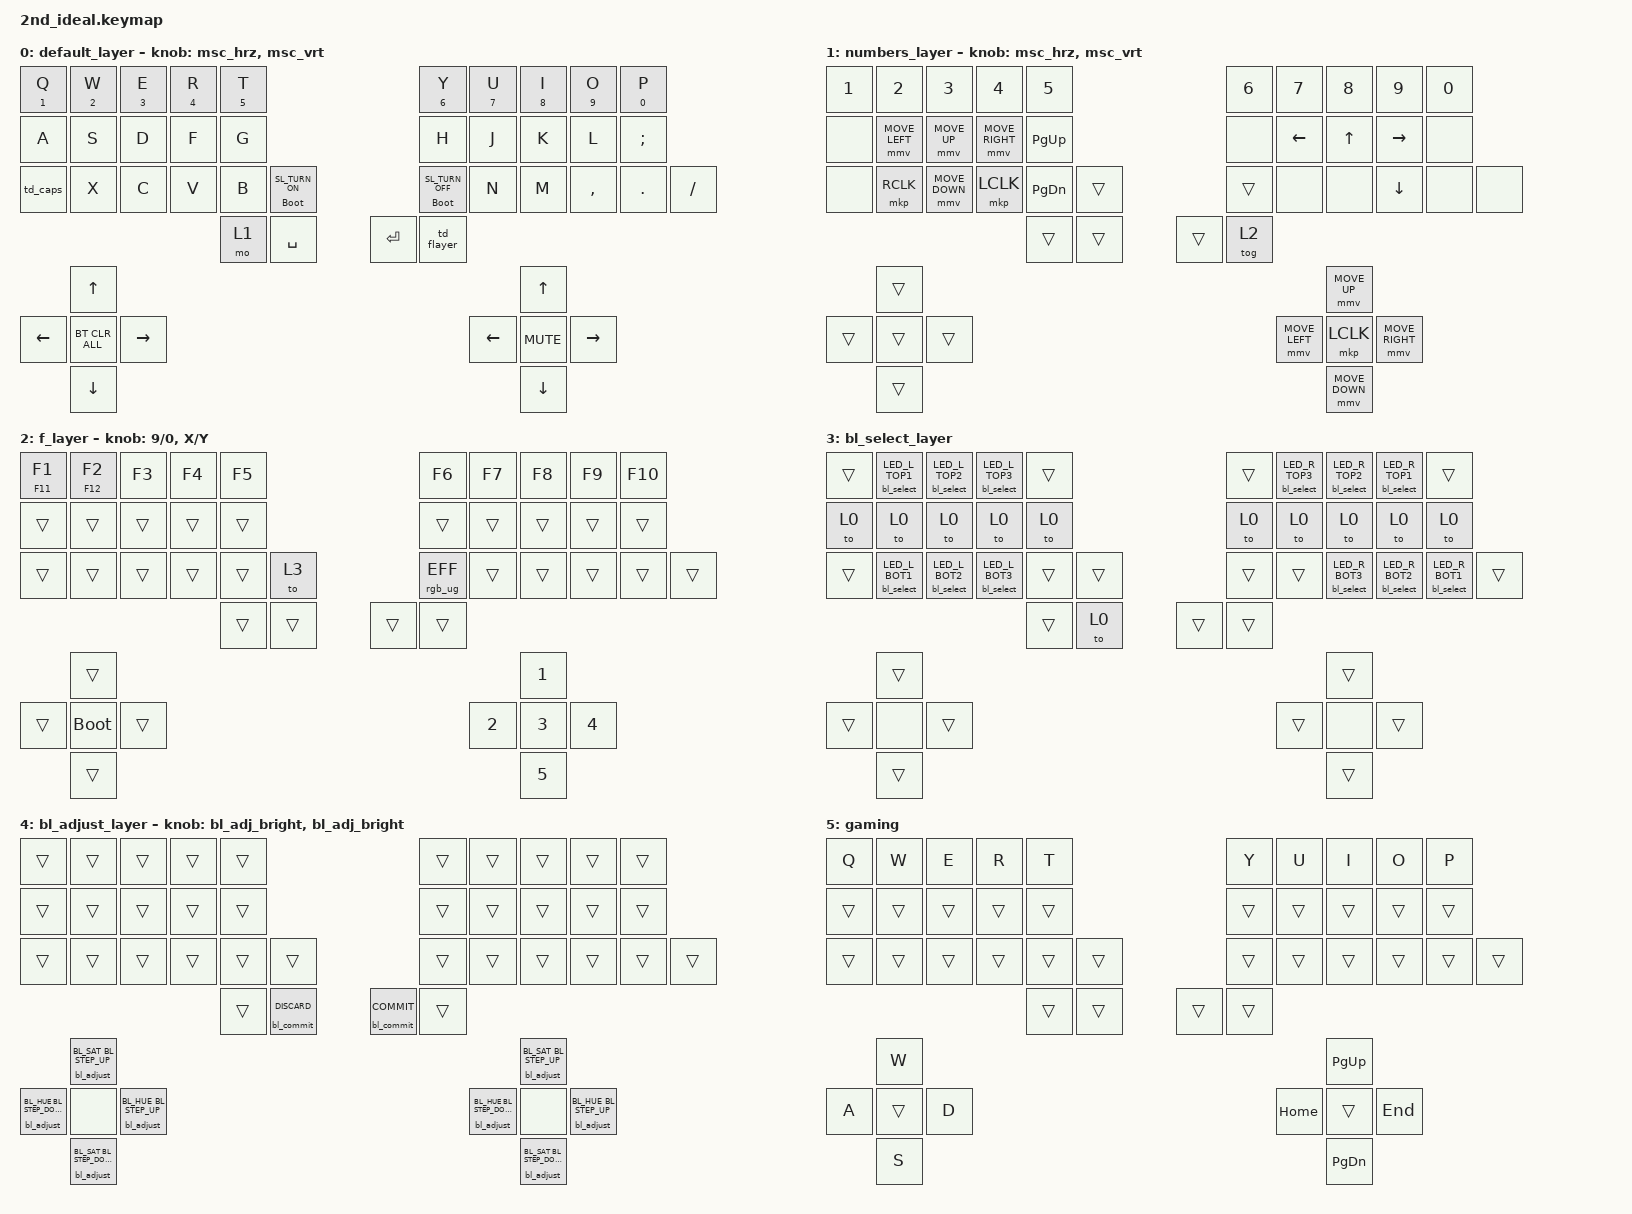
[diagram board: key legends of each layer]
#define ZMK_POINTING_DEFAULT_SCRL_VAL 		100

#include <behaviors.dtsi>
#include <dt-bindings/zmk/bt.h>
#include <dt-bindings/zmk/keys.h>
#include <dt-bindings/zmk/pointing.h>
#include <dt-bindings/zmk/rgb.h>
#include <dt-bindings/status_led.h>
#include <dt-bindings/bl_ids.h>
#include "keys_de.h"

/ {
    combos {
        compatible = "zmk,combos";

        combo_tilde {
            key-positions = <1 0>;
            bindings = <&kp TILDE>;
            timeout-ms = <20>;
        };

        combo_lparen {
            key-positions = <3 2>;
            bindings = <&kp LPAR>;
            timeout-ms = <20>;
        };

        combo_div {
            key-positions = <3 4>;
            bindings = <&kp FSLH>;
            timeout-ms = <20>;
        };

        combo_mul {
            key-positions = <6 5>;
            bindings = <&kp ASTERISK>;
            timeout-ms = <20>;
        };

        combo_rparen {
            key-positions = <7 6>;
            bindings = <&kp RPAR>;
            timeout-ms = <20>;
        };

        combo_eq {
            key-positions = <8 7>;
            bindings = <&kp EQUAL>;
            timeout-ms = <20>;
        };

        combo_bslh {
            key-positions = <30 31>;
            bindings = <&kp BSLH>;
            timeout-ms = <20>;
        };

        // row 2

        combo_lbrace {
            key-positions = <12 13>;
            bindings = <&kp LBRC>;
            timeout-ms = <20>;
        };

        combo_minus {
            key-positions = <14 13>;
            bindings = <&kp MINUS>;
            timeout-ms = <20>;
        };

        combo_plus {
            key-positions = <15 16>;
            bindings = <&kp PLUS>;
            timeout-ms = <20>;
        };

        combo_rbrace {
            key-positions = <16 17>;
            bindings = <&kp RBRC>;
            timeout-ms = <20>;
        };

        combo_amps {
            key-positions = <17 18>;
            bindings = <&kp AMPS>;
            timeout-ms = <20>;
        };

        combo_bktk {
            key-positions = <17 18 19>;
            bindings = <&kp GRAVE>;
            timeout-ms = <30>;
        };

        // row 3

        combo_lbracket {
            key-positions = <22 23>;
            bindings = <&kp LBKT>;
            timeout-ms = <20>;
        };

        combo_excl {
            key-positions = <23 24>;
            bindings = <&kp EXCL>;
            timeout-ms = <20>;
        };

        combo_pipe {
            key-positions = <27 28>;
            bindings = <&kp PIPE>;
            timeout-ms = <20>;
        };

        combo_rbracket {
            key-positions = <28 29>;
            bindings = <&kp RBKT>;
            timeout-ms = <20>;
        };

        combo_ul {
            key-positions = <29 30>;
            bindings = <&kp UNDER>;
            timeout-ms = <20>;
        };

        // home row mods

        combo_lshft {
            key-positions = <10 12>;
            bindings = <&ht_sticky LSHFT LSHFT>;
        };

        combo_rshft {
            key-positions = <17 19>;
            bindings = <&ht_sticky RSHFT RSHFT>;
        };

        combo_lctrl {
            key-positions = <11 13>;
            bindings = <&ht_sticky LCTRL LCTRL>;
        };

        combo_rctrl {
            key-positions = <16 18>;
            bindings = <&ht_sticky RCTRL RCTRL>;
        };

        combo_lgui {
            key-positions = <20 23>;
            bindings = <&ht_sticky LGUI LGUI>;
            timeout-ms = <30>;
        };

        combo_rgui {
            key-positions = <28 31>;
            bindings = <&ht_sticky RGUI RGUI>;
        };

        combo_lalt {
            key-positions = <10 13>;
            bindings = <&ht_sticky LALT LALT>;
        };

        combo_ralt {
            key-positions = <16 19>;
            bindings = <&ht_sticky RALT RALT>;
        };

        combo_bkspc {
            key-positions = <16 17 18>;
            bindings = <&kp BSPC>;
            timeout-ms = <30>;
        };

        combo_sqt {
            key-positions = <18 19>;
            bindings = <&kp SQT>;
            timeout-ms = <20>;
        };

        combo_esc {
            bindings = <&kp ESC>;
            key-positions = <11 12 13>;
            timeout-ms = <30>;
            layers = <0 1 2 3>;
        };

        combo_esc_abort {
            bindings = <&bl_commit BL_DISCARD>;
            key-positions = <11 12 13>;
            timeout-ms = <30>;
            layers = <4>;
        };

        combo_tab {
            bindings = <&kp TAB>;
            key-positions = <10 11 12>;
            timeout-ms = <30>;
        };

        combo_auml {
            bindings = <&kp DE_A_UMLAUT>;
            key-positions = <10 2>;
            timeout-ms = <30>;
        };

        combo_ouml {
            bindings = <&kp DE_O_UMLAUT>;
            key-positions = <8 2>;
            timeout-ms = <30>;
        };

        combo_uuml {
            bindings = <&kp DE_U_UMLAUT>;
            key-positions = <2 6>;
            timeout-ms = <30>;
        };

        combo_szlig {
            bindings = <&kp DE_SZ>;
            key-positions = <11 20>;
            timeout-ms = <30>;
        };

        combo_capslock {
            bindings = <&kp CLCK>;
            key-positions = <10 11 12 13>;
            timeout-ms = <30>;
        };

        combo_lbootloader {
            bindings = <&bootloader>;
            key-positions = <0 1 2 3>;
            timeout-ms = <30>;
        };

        combo_rbootloader {
            bindings = <&bootloader>;
            key-positions = <6 7 8 9>;
            timeout-ms = <20>;
        };

	combo_gaming {
	    bindings = <&td_gaming>;
            key-positions = <32 35>;
	};
    };

    behaviors {
        msc_vrt: msc_vrt {
            compatible = "zmk,behavior-sensor-rotate";
            #sensor-binding-cells = <0>;
            bindings = <&msc SCRL_DOWN>, <&msc SCRL_UP>;

            tap-ms = <25>;
        };

        msc_hrz: msc_hrz {
            compatible = "zmk,behavior-sensor-rotate";
            #sensor-binding-cells = <0>;
            bindings = <&msc SCRL_LEFT>, <&msc SCRL_RIGHT>;

            tap-ms = <25>;
        };

#if ZMK_BEHAVIOR_OMIT(SLED)
        /omit-if-no-ref/
#endif
        sled: sled {
            compatible = "zmk,behavior-status-led";
            #binding-cells = <1>;
        };

        bl_select: bl_select {
            compatible = "zmk,behavior-bl-select";
            #binding-cells = <1>;
        };

        bl_adjust: bl_adjust {
            compatible = "zmk,behavior-bl-adjust";
            #binding-cells = <2>;
        };

        bl_commit: bl_commit {
            compatible = "zmk,behavior-bl-commit";
            #binding-cells = <1>;
        };

        bl_adj_bright: bl_adj_bright {
            compatible = "zmk,behavior-sensor-rotate";
            #sensor-binding-cells = <0>;
            bindings = <&bl_adjust BL_BRIGHT BL_STEP_DOWN>, <&bl_adjust BL_BRIGHT BL_STEP_UP>;

            tap-ms = <25>;
        };

        td_caps: td_caps {
            compatible = "zmk,behavior-tap-dance";
            #binding-cells = <0>;
            tapping-term-ms = <200>;
            bindings = <&kp Z>, <&caps_word>;
        };

        ht_sticky: ht_sticky {
            compatible = "zmk,behavior-hold-tap";
            bindings = <&kp>, <&sk>;

            #binding-cells = <2>;
            tapping-term-ms = <175>;
            flavor = "tap-preferred";
        };

        ht_boot: ht_boot {
            compatible = "zmk,behavior-hold-tap";
            bindings = <&bootloader>, <&sled>;

            #binding-cells = <2>;
            tapping-term-ms = <1000>;
            flavor = "hold-preferred";
        };

        td_flayer: td_flayer {
            compatible = "zmk,behavior-tap-dance";
            #binding-cells = <0>;
            bindings = <&mo 1>, <&tog 2>;
        };

	td_gaming: td_gaming {
	    compatible = "zmk,behavior-tap-dance";
	    label = "td_gaming";
	    #binding-cells = <0>;
	    bindings = <&none>, <&tog 5>;
	};
    };

    keymap {
        compatible = "zmk,keymap";

        default_layer {
            bindings = <
&mt N1 Q  &mt N2 W        &mt N3 E   &mt N4 R  &mt N5 T                                      &mt N6 Y    &mt N7 U  &mt N8 I   &mt N9 O    &mt N0 P
&kp A     &kp S           &kp D      &kp F     &kp G                                         &kp H       &kp J     &kp K      &kp L       &kp SEMI
&td_caps  &kp X           &kp C      &kp V     &kp B     &ht_boot 0 SL_TURN_ON             &ht_boot 0 SL_TURN_OFF    &kp N       &kp M     &kp COMMA  &kp DOT     &kp FSLH

                                               &mo 1     &kp SPACE                &kp ENTER  &td_flayer
          &kp UP                                                                                                              &kp UP
&kp LEFT  &bt BT_CLR_ALL  &kp RIGHT                                                                                &kp LEFT   &kp K_MUTE  &kp RIGHT
          &kp DOWN                                                                                                            &kp DOWN
            >;

            sensor-bindings = <&msc_hrz &msc_vrt>;
        };

        numbers_layer {
            bindings = <
&kp N1  &kp N2          &kp N3          &kp N4           &kp N5                                   &kp N6  &kp N7    &kp N8          &kp N9          &kp N0
&none   &mmv MOVE_LEFT  &mmv MOVE_UP    &mmv MOVE_RIGHT  &kp PG_UP                                &none   &kp LEFT  &kp UP          &kp RIGHT       &none
&none   &mkp RCLK       &mmv MOVE_DOWN  &mkp LCLK        &kp PG_DN  &trans                &trans  &none   &none     &kp DOWN        &none           &none

                                                         &trans     &trans                &trans  &tog 2
        &trans                                                                                                                      &mmv MOVE_UP
&trans  &trans          &trans                                                                                      &mmv MOVE_LEFT  &mkp LCLK       &mmv MOVE_RIGHT
        &trans                                                                                                                      &mmv MOVE_DOWN
            >;

            sensor-bindings = <&msc_hrz &msc_vrt>;
        };

        f_layer {
            bindings = <
&mt F11 F1  &mt F12 F2  &kp F3  &kp F4  &kp F5                                                  &kp F6  &kp F7  &kp F8  &kp F9  &kp F10
&trans      &trans      &trans  &trans  &trans                                                  &trans  &trans  &trans  &trans  &trans
&trans      &trans      &trans  &trans  &trans  &to 3                          &rgb_ug RGB_EFF  &trans  &trans  &trans  &trans  &trans

                                        &trans  &trans                         &trans           &trans
            &trans                                                                                                      &kp N1
&trans      &bootloader &trans                                                                                  &kp N2  &kp N3       &kp N4
            &trans                                                                                                      &kp N5
            >;

            //sensor-bindings = <&rgb_hue &rgb_sat>;

            sensor-bindings = <&inc_dec_kp N9 N0>, <&inc_dec_kp X Y>;
        };

        bl_select_layer {
            bindings = <
&trans  &bl_select BL_LED_L_TOP1  &bl_select BL_LED_L_TOP2  &bl_select BL_LED_L_TOP3  &trans                                                          &trans  &bl_select BL_LED_R_TOP3  &bl_select BL_LED_R_TOP2  &bl_select BL_LED_R_TOP1  &trans
&to 0   &to 0                      &to 0                      &to 0                      &to 0                                                          &to 0   &to 0                      &to 0                      &to 0                      &to 0
&trans  &bl_select BL_LED_L_BOT1  &bl_select BL_LED_L_BOT2  &bl_select BL_LED_L_BOT3  &trans  &trans                                &trans                &trans  &bl_select BL_LED_R_BOT3  &bl_select BL_LED_R_BOT2  &bl_select BL_LED_R_BOT1  &trans

                                                                          &trans  &to 0                                &trans  &trans
          &trans                                                                                                                                     &trans
&trans    &none   &trans                                                                                                                  &trans     &none       &trans
          &trans                                                                                                                                     &trans
            >;
        };

        bl_adjust_layer {
            bindings = <
&trans  &trans  &trans  &trans  &trans                                                          &trans  &trans  &trans  &trans  &trans
&trans  &trans  &trans  &trans  &trans                                                          &trans  &trans  &trans  &trans  &trans
&trans  &trans  &trans  &trans  &trans  &trans                                &trans             &trans  &trans  &trans  &trans  &trans

                                        &trans  &bl_commit BL_DISCARD                &bl_commit BL_COMMIT  &trans
          &bl_adjust BL_SAT BL_STEP_UP                                                                                                       &bl_adjust BL_SAT BL_STEP_UP
&bl_adjust BL_HUE BL_STEP_DOWN  &none  &bl_adjust BL_HUE BL_STEP_UP                                                          &bl_adjust BL_HUE BL_STEP_DOWN  &none  &bl_adjust BL_HUE BL_STEP_UP
          &bl_adjust BL_SAT BL_STEP_DOWN                                                                                                     &bl_adjust BL_SAT BL_STEP_DOWN
            >;

            sensor-bindings = <&bl_adj_bright &bl_adj_bright>;
        };

        gaming {
            bindings = <
&kp Q   &kp W   &kp E   &kp R   &kp T                                 &kp Y   &kp U   &kp I     &kp O      &kp P
&trans  &trans  &trans  &trans  &trans                                &trans  &trans  &trans    &trans     &trans
&trans  &trans  &trans  &trans  &trans  &trans                &trans  &trans  &trans  &trans    &trans     &trans

                                &trans  &trans                &trans  &trans
        &kp W                                                                                   &kp PG_UP
&kp A   &trans  &kp D                                                                 &kp HOME  &trans     &kp END
        &kp S                                                                                   &kp PG_DN
            >;
        };
    };
};

&mt {
    tapping-term-ms = <300>;
    flavor = "tap-preferred";
};

&sk { release-after-ms = <5000>; };
